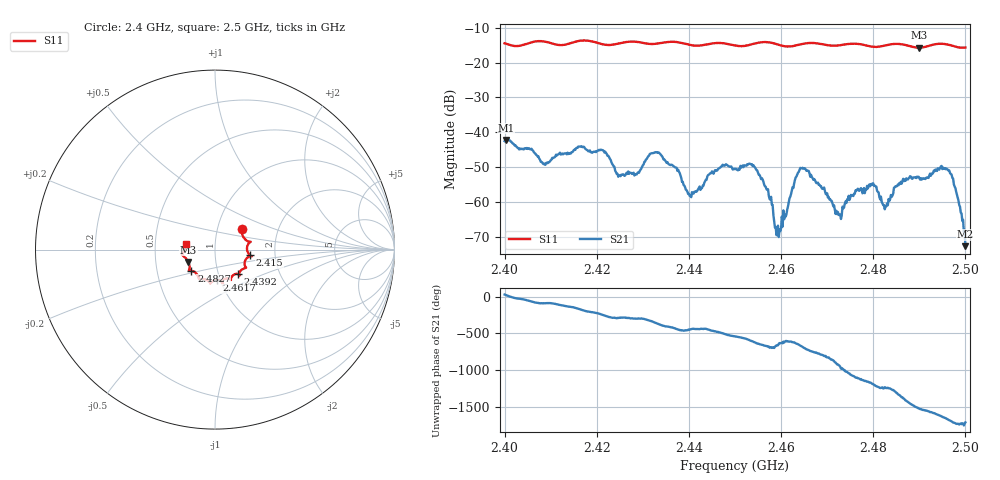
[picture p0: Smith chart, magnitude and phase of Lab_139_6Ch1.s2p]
# Hz S RI R 50
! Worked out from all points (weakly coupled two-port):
!   601 points, 2.4 GHz to 2.5 GHz, reference 50 ohm
!   highest |S21| = -42.20 dB at 2.4003 GHz (marker M1); lowest = -72.6 dB at 2.5 GHz (marker M2)
!   lowest |S11| = -15.7 dB at 2.49 GHz (marker M3), VSWR 1.39, Z = 36.8 - j5.24 ohm
!   |S11| at or under -10 dB: start of sweep to end of sweep
!   S12 and S22 are empty: the file has one direction only
!   S11 on the Smith chart (normalised r, x): 2.4 GHz: 1.31, +0.31; 2.415 GHz: 1.48, -0.10; 2.4392 GHz: 1.24, -0.35; 2.4617 GHz: 0.96, -0.34; 2.4827 GHz: 0.75, -0.18; 2.5 GHz: 0.72, +0.05
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2.4e9  0.1505 0.1147  0.00647 0.00377  0 0  0 0
2.400333e9  0.15 0.1103  0.00718 0.00296  0 0  0 0
2.4085e9  0.1969 0.0429  0.00018 -0.0035  0 0  0 0
2.415e9  0.1936 -0.0314  -0.00455 -0.00318  0 0  0 0
2.416667e9  0.2036 -0.0382  -0.00633 -0.000301  0 0  0 0
2.4215e9  0.1746 -0.0509  -0.00166 0.00515  0 0  0 0
2.425167e9  0.1674 -0.0919  0.000697 0.00225  0 0  0 0
2.433333e9  0.136 -0.1307  0.00509 -0.000809  0 0  0 0
2.439167e9  0.1277 -0.1357  -0.000172 -0.00163  0 0  0 0
2.45e9  0.0715 -0.1614  -0.00297 3.81e-05  0 0  0 0
2.4545e9  0.0396 -0.1851  -0.000192 0.003  0 0  0 0
2.459333e9  0.0361 -0.1777  0.000233 0.000395  0 0  0 0
2.461667e9  0.00837 -0.17  -0.000349 0.000922  0 0  0 0
2.464167e9  -0.0211 -0.1814  0.00173 0.00257  0 0  0 0
2.466667e9  -0.0269 -0.1896  0.00209 -0.000921  0 0  0 0
2.472667e9  -0.0674 -0.164  -0.000514 0.000405  0 0  0 0
2.4795e9  -0.1007 -0.1377  -8.01e-05 -0.00181  0 0  0 0
2.482667e9  -0.1318 -0.1177  -0.000824 -0.000257  0 0  0 0
2.483333e9  -0.1376 -0.117  -0.00108 -0.000266  0 0  0 0
2.49e9  -0.1484 -0.0694  0.000264 -0.00222  0 0  0 0
2.4965e9  -0.1786 -0.0197  -0.00136 0.00249  0 0  0 0
2.5e9  -0.1621 0.0314  7e-06 0.000233  0 0  0 0
